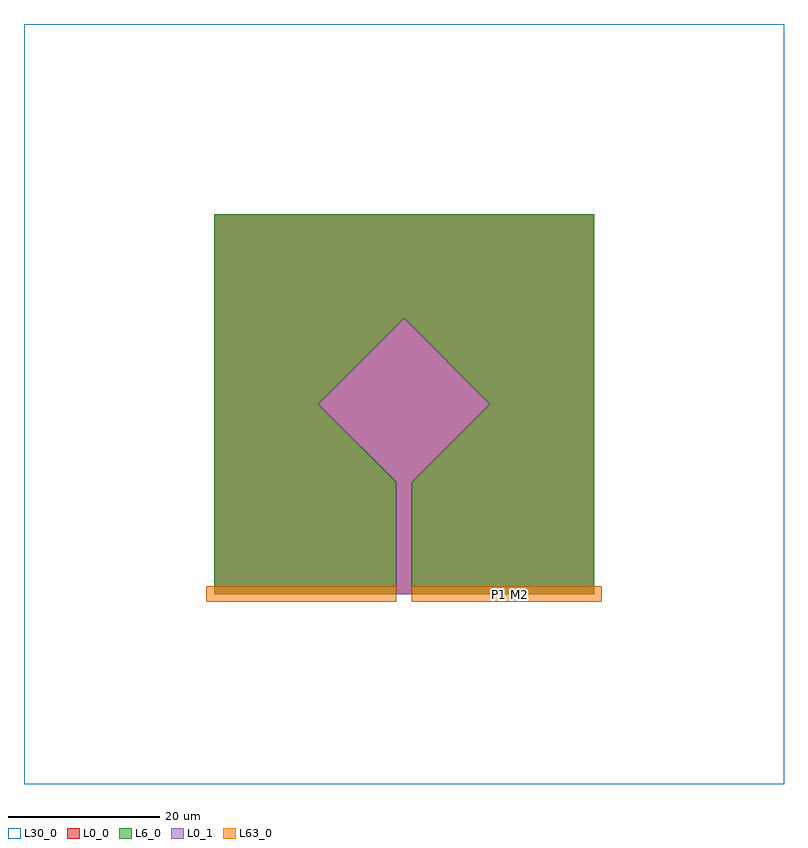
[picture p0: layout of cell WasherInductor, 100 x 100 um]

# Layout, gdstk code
import gdstk
lib = gdstk.Library(unit=1e-6, precision=1e-09)
def R(c, l, rs):  # rectangles x0, y0, x1, y1
    for r in rs: c.add(gdstk.rectangle(r[:2], r[2:], *l))
def P(c, l, *ps):  # polygons
    for p in ps: c.add(gdstk.Polygon(p, *l))
L0_0 = (0, 0)
L0_1 = (0, 1)
L6_0 = (6, 0)
L30_0 = (30, 0)
L63_0 = (63, 0)

washerinductor = lib.new_cell('WasherInductor')
R(washerinductor, L0_0, [(-25,-25,25,25)])
P(washerinductor, L0_1, [(0,-11.314),(-11.314,0),(0,11.314),(11.314,0)])
P(washerinductor, L6_0, [(-25,-25),(-25,25),(25,25),(25,-25),(1,-25),(1,-10.314),(11.314,0),(0,11.314),(-11.314,0),(-1,-10.314),(-1,-25)])
R(washerinductor, L30_0, [(-50,-50,50,50)])
R(washerinductor, L63_0, [(-26,-26,-1,-24), (1,-26,26,-24)])
washerinductor.add(gdstk.FlexPath([(0,-25),(0,0)], 2, ends="flush", simple_path=True, layer=0, datatype=1))  # L0_1
washerinductor.add(gdstk.Label('P1 M2', (14,-25), layer=64, texttype=0))

lib.write_gds('WasherInductor.gds')
